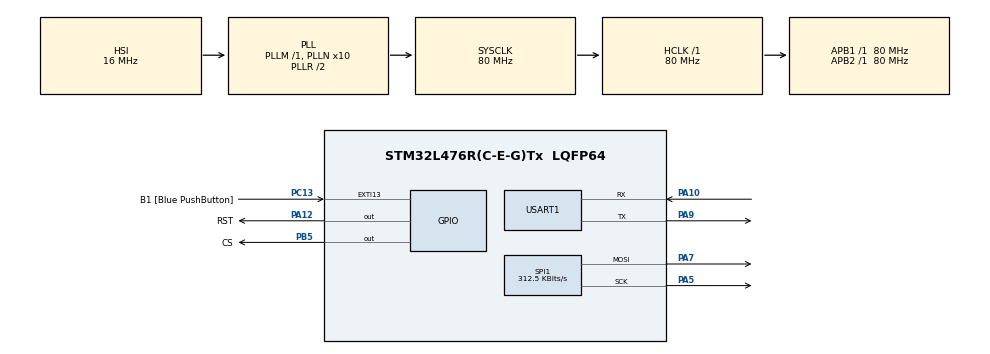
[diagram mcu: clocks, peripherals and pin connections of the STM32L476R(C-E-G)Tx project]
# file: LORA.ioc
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Mcu.Family=STM32L4
Mcu.Name=STM32L476R(C-E-G)Tx
Mcu.Package=LQFP64
NVIC.PriorityGroup=NVIC_PRIORITYGROUP_4
PA10.Mode=Asynchronous
PA10.Signal=USART1_RX
PA12.GPIO_Label=RST
PA12.Signal=GPIO_Output
PA13\ (JTMS-SWDIO).GPIO_Label=TMS
PA13\ (JTMS-SWDIO).Mode=Serial_Wire
PA13\ (JTMS-SWDIO).Signal=SYS_JTMS-SWDIO
PA14\ (JTCK-SWCLK).GPIO_Label=TCK
PA14\ (JTCK-SWCLK).Mode=Serial_Wire
PA14\ (JTCK-SWCLK).Signal=SYS_JTCK-SWCLK
PA2.GPIO_Label=USART_TX
PA2.GPIO_Mode=GPIO_MODE_AF_PP
PA2.GPIO_PuPd=GPIO_NOPULL
PA2.GPIO_Speed=GPIO_SPEED_FREQ_VERY_HIGH
PA2.Signal=USART2_TX
PA3.GPIO_Label=USART_RX
PA3.GPIO_Mode=GPIO_MODE_AF_PP
PA3.GPIO_PuPd=GPIO_NOPULL
PA3.GPIO_Speed=GPIO_SPEED_FREQ_VERY_HIGH
PA3.Signal=USART2_RX
PA5.Mode=TX_Only_Simplex_Unidirect_Master
PA5.Signal=SPI1_SCK
PA7.Mode=TX_Only_Simplex_Unidirect_Master
PA7.Signal=SPI1_MOSI
PA9.Mode=Asynchronous
PA9.Signal=USART1_TX
PB3\ (JTDO-TRACESWO).GPIO_Label=SWO
PB3\ (JTDO-TRACESWO).Signal=SYS_JTDO-SWO
PB5.GPIO_Label=CS
PB5.Signal=GPIO_Output
PC13.GPIO_Label=B1 [Blue PushButton]
PC13.GPIO_ModeDefaultEXTI=GPIO_MODE_IT_FALLING
PC13.GPIO_PuPd=GPIO_NOPULL
PC13.Signal=GPXTI13
PC14-OSC32_IN\ (PC14).Mode=LSE-External-Oscillator
PC14-OSC32_IN\ (PC14).Signal=RCC_OSC32_IN
PC15-OSC32_OUT\ (PC15).Mode=LSE-External-Oscillator
PC15-OSC32_OUT\ (PC15).Signal=RCC_OSC32_OUT
PH0-OSC_IN\ (PH0).Signal=RCC_OSC_IN
PH1-OSC_OUT\ (PH1).Signal=RCC_OSC_OUT
ProjectManager.HeapSize=0x200
ProjectManager.StackSize=0x400
ProjectManager.TargetToolchain=STM32CubeIDE
RCC.ADCFreq_Value=64000000
RCC.AHBFreq_Value=80000000
RCC.APB1Freq_Value=80000000
RCC.APB1TimFreq_Value=80000000
RCC.APB2Freq_Value=80000000
RCC.APB2TimFreq_Value=80000000
RCC.CortexFreq_Value=80000000
RCC.HCLKFreq_Value=80000000
RCC.HSE_VALUE=8000000
RCC.HSI_VALUE=16000000
RCC.MSI_VALUE=4000000
RCC.PLLN=10
RCC.PLLSourceVirtual=RCC_PLLSOURCE_HSI
RCC.PREFETCH_ENABLE=1
RCC.SYSCLKFreq_VALUE=80000000
RCC.SYSCLKSource=RCC_SYSCLKSOURCE_PLLCLK
RCC.USBFreq_Value=64000000
RCC.VCOOutputFreq_Value=160000000
SPI1.BaudRatePrescaler=SPI_BAUDRATEPRESCALER_256
SPI1.CalculateBaudRate=312.5 KBits/s
SPI1.DataSize=SPI_DATASIZE_8BIT
SPI1.Direction=SPI_DIRECTION_2LINES
SPI1.Mode=SPI_MODE_MASTER
SPI1.NSSPMode=SPI_NSS_PULSE_DISABLE
SPI1.VirtualType=VM_MASTER
USART1.VirtualMode-Asynchronous=VM_ASYNC
board=NUCLEO-L476RG

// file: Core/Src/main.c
/* USER CODE BEGIN Header */
/**
  ******************************************************************************
  * @file           : main.c
  * @brief          : Main program body
  ******************************************************************************
  * @attention
  *
  * Copyright (c) 2024 STMicroelectronics.
  * All rights reserved.
  *
  * This software is licensed under terms that can be found in the LICENSE file
  * in the root directory of this software component.
  * If no LICENSE file comes with this software, it is provided AS-IS.
  *
  ******************************************************************************
  */
/* USER CODE END Header */
#include "main.h"
#include "spi.h"
#include "usart.h"
#include "gpio.h"

/* USER CODE BEGIN Includes */
#include "stdio.h"
#include "string.h"
#include "spi45.h"

/* USER CODE END Includes */

/* USER CODE BEGIN PD */
#define TRANSMITTER 1
#define RECEIVER    0

/* USER CODE END PD */

void SystemClock_Config(void);

int main(void)
{

  /* MCU Configuration--------------------------------------------------------*/

  /* Reset of all peripherals, Initializes the Flash interface and the Systick. */
  HAL_Init();

  /* Configure the system clock */
  SystemClock_Config();

  /* Initialize all configured peripherals */
  MX_GPIO_Init();
  MX_SPI1_Init();
  MX_USART1_UART_Init();
  /* USER CODE BEGIN 2 */

  //regopmode RegOpMode.LongRangeMode = 1;

#if TRANSMITTER
  	  spi45_write_register(&hspi1, REG_RegOpMode, 0x8B);	// mode TX
#endif
#if RECEIVER
  	  spi45_write_register(&hspi1, REG_RegOpMode, 0x8D);	// mode RX continuous
#endif

    char pData[] = "Salut on est en G45";

  /* USER CODE END 2 */

  /* Infinite loop */
  /* USER CODE BEGIN WHILE */
    HAL_Delay(500);
  while (1)
  {
    /* USER CODE END WHILE */

    /* USER CODE BEGIN 3 */
	  HAL_GPIO_WritePin(GPIOB, GPIO_PIN_5, GPIO_PIN_RESET);  				//CS
	  HAL_SPI_Transmit(&hspi1, (uint8_t*)&pData, strlen(pData), HAL_MAX_DELAY);
	  HAL_GPIO_WritePin(GPIOB, GPIO_PIN_5, GPIO_PIN_SET);

	  HAL_Delay(15);
  }
  /* USER CODE END 3 */
}

void SystemClock_Config(void)
{
  RCC_OscInitTypeDef RCC_OscInitStruct = {0};
  RCC_ClkInitTypeDef RCC_ClkInitStruct = {0};

  /** Configure the main internal regulator output voltage
  */
  if (HAL_PWREx_ControlVoltageScaling(PWR_REGULATOR_VOLTAGE_SCALE1) != HAL_OK)
  {
    Error_Handler();
  }

  /** Initializes the RCC Oscillators according to the specified parameters
  * in the RCC_OscInitTypeDef structure.
  */
  RCC_OscInitStruct.OscillatorType = RCC_OSCILLATORTYPE_HSI;
  RCC_OscInitStruct.HSIState = RCC_HSI_ON;
  RCC_OscInitStruct.HSICalibrationValue = RCC_HSICALIBRATION_DEFAULT;
  RCC_OscInitStruct.PLL.PLLState = RCC_PLL_ON;
  RCC_OscInitStruct.PLL.PLLSource = RCC_PLLSOURCE_HSI;
  RCC_OscInitStruct.PLL.PLLM = 1;
  RCC_OscInitStruct.PLL.PLLN = 10;
  RCC_OscInitStruct.PLL.PLLP = RCC_PLLP_DIV7;
  RCC_OscInitStruct.PLL.PLLQ = RCC_PLLQ_DIV2;
  RCC_OscInitStruct.PLL.PLLR = RCC_PLLR_DIV2;
  if (HAL_RCC_OscConfig(&RCC_OscInitStruct) != HAL_OK)
  {
    Error_Handler();
  }

  /** Initializes the CPU, AHB and APB buses clocks
  */
  RCC_ClkInitStruct.ClockType = RCC_CLOCKTYPE_HCLK|RCC_CLOCKTYPE_SYSCLK
                              |RCC_CLOCKTYPE_PCLK1|RCC_CLOCKTYPE_PCLK2;
  RCC_ClkInitStruct.SYSCLKSource = RCC_SYSCLKSOURCE_PLLCLK;
  RCC_ClkInitStruct.AHBCLKDivider = RCC_SYSCLK_DIV1;
  RCC_ClkInitStruct.APB1CLKDivider = RCC_HCLK_DIV1;
  RCC_ClkInitStruct.APB2CLKDivider = RCC_HCLK_DIV1;

  if (HAL_RCC_ClockConfig(&RCC_ClkInitStruct, FLASH_LATENCY_4) != HAL_OK)
  {
    Error_Handler();
  }
}

void Error_Handler(void)
{
  __disable_irq();
  while (1)
  {
  }
}
